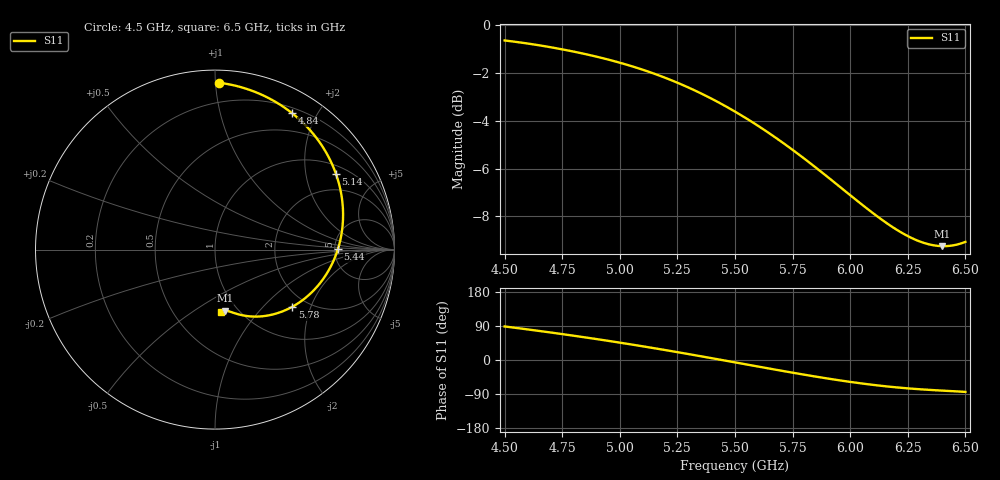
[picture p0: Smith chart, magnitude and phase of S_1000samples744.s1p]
! TOUCHSTONE file generated by CST MICROWAVE STUDIO
! Date and time: Sat Oct 29 05:54:52 2022
! Project name: L.cst
! Parameters = {Di=1.27; Epsilon_r=1.56; InnerDiameter=1.27; Length=2; Lf=10; Lg=60; OuterConductorThickness=0.2921; OuterDiameter=3.6; Wf=3; Wp=41.2; de=1.5; df=6.8; g=0.8; gx=0.652297; gy=3.74101; h=2.34; hf=1.524; px=8.76171; py=9.22722; w=9.7; wx=8.10941; wy=5.48621}
! Header version: 2018
! Port assignment regex: !\s*Touchstone port\s*([0-9]+)\s*=\s*(CST MWS port|CST DS port)\s*([0-9]+|Zmin|Zmax)\s*\(\"(.*)\"\)(\s*mode\s*([0-9]+))?.*
! Touchstone port assignment:
! Touchstone port 1 = CST MWS port 1 ("")
# GHz S DB R 50
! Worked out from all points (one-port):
!   101 points, 4.5 GHz to 6.5 GHz, reference 50 ohm
!   lowest |S11| = -9.2 dB at 6.4 GHz (marker M1), VSWR 2.05, Z = 43.7 - j33.8 ohm
!   |S11| at or under -10 dB: nowhere
!   S11 on the Smith chart (normalised r, x): 4.5 GHz: 0.07, +1.02; 4.84 GHz: 0.26, +1.68; 5.14 GHz: 1.29, +2.97; 5.44 GHz: 5.35, +0.08; 5.78 GHz: 1.67, -1.49; 6.5 GHz: 0.83, -0.67
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4.5  -0.63 88.5
4.58  -0.73 82.3
4.64  -0.82 77.5
4.7  -0.92 72.5
4.76  -1.02 67.5
4.84  -1.18 60.5
4.92  -1.36 53.3
5  -1.56 45.8
5.08  -1.80 38.0
5.14  -1.99 32.0
5.2  -2.21 25.9
5.26  -2.44 19.7
5.34  -2.79 11.2
5.44  -3.28 0.3
5.5  -3.61 -6.3
5.58  -4.08 -15.1
5.64  -4.46 -21.6
5.7  -4.86 -28.1
5.76  -5.28 -34.5
5.78  -5.43 -36.6
5.88  -6.18 -46.7
6  -7.11 -57.8
6.12  -8.01 -67.1
6.18  -8.42 -71.0
6.26  -8.87 -75.3
6.34  -9.16 -78.7
6.4  -9.24 -80.8
6.5  -9.06 -84.1
